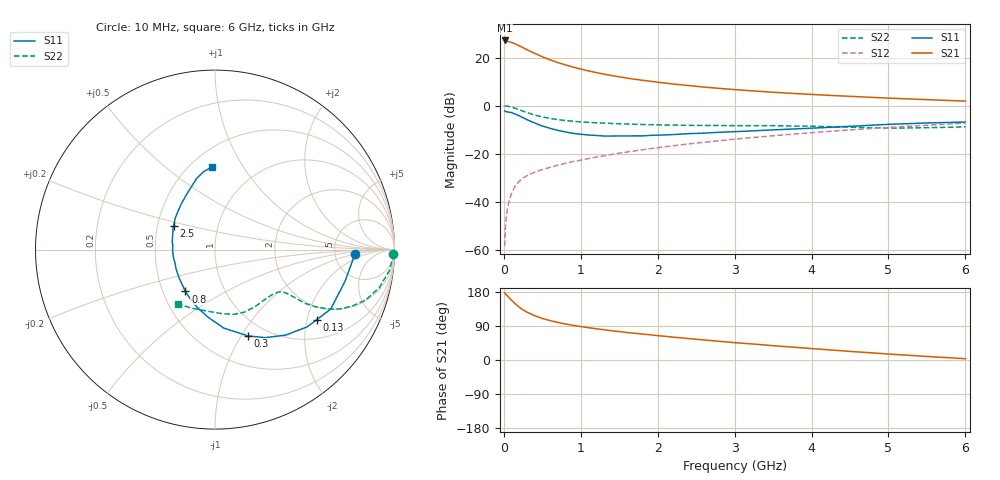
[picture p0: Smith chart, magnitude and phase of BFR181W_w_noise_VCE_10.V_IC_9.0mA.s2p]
! Infineon Technologies  Discrete & RF Semiconductors
! BFR181W
! VCE =  10. V,  IC =  9.0 mA
! Common Emitter S-Parameters:  Jan 2017
# GHz  S  MA  R  50
!  f  S11  S21  S12  S22
! GHz  MAG  ANG  MAG  ANG  MAG  ANG  MAG  ANG
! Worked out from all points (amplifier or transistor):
!   77 points, 10 MHz to 6 GHz, reference 50 ohm
!   highest |S21| = 27.2 dB at 10 MHz (marker M1)
!   |S21| within 3 dB of that: start of sweep to 250.3 MHz
!   unconditionally stable (mu >= 1): 1.124 GHz to 3.116 GHz
!   at 130 MHz: K = 0.24, MSG = 30.2 dB, |S12| = -34.5 dB
!   at 2.2 GHz: K = 1.06, MAG = 11.4 dB, |S12| = -16.6 dB
!   at 6 GHz: K = 0.86, MSG = 4.6 dB, |S12| = -7.2 dB
!   lowest NFmin = 1.18 dB at 450 MHz
!   S11 on the Smith chart (normalised r, x): 10 MHz: 8.02, -0.95; 130 MHz: 1.55, -2.29; 300 MHz: 0.82, -1.07; 800 MHz: 0.65, -0.33; 2.5 GHz: 0.61, +0.17; 6 GHz: 0.63, +0.74
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0.01  0.781 -1.7  22.85 177.3  0.0012 76.5  0.9934 -1.3
0.02  0.7616 -6.7  22.32 174.5  0.0029 86.3  0.9919 -2.5
0.04  0.7498 -11.3  22.01 170.4  0.0061 81.8  0.9823 -5.4
0.05  0.7458 -13.7  21.89 168.3  0.0077 80.9  0.9784 -6.9
0.1  0.7248 -27.2  20.8 157.5  0.0148 78.0  0.9388 -13.2
0.13  0.6878 -34.6  19.86 152.0  0.0189 73.5  0.9055 -16.3
0.15  0.6701 -40.0  19.34 148.0  0.0217 71.4  0.8849 -18.5
0.2  0.6181 -50.4  17.7 139.4  0.0268 68.1  0.8265 -22.4
0.25  0.5646 -60.3  16.19 132.2  0.0313 64.7  0.7729 -25.3
0.3  0.5148 -69.1  14.71 126.2  0.0352 62.8  0.7214 -27.4
0.4  0.4406 -83.5  12.33 116.8  0.0415 61.9  0.6429 -29.7
0.5  0.3802 -95.5  10.46 109.7  0.0471 60.9  0.586 -30.8
0.6  0.3398 -106.3  9.055 103.9  0.0523 60.9  0.5457 -31.0
0.8  0.286 -125.3  7.088 95.0  0.0636 62.9  0.4936 -31.2
1.1  0.2466 -148.3  5.321 85.3  0.0799 64.3  0.4527 -31.8
1.5  0.2356 -172.1  4.002 75.0  0.1036 65.8  0.4218 -34.3
2.1  0.2476 162.6  2.963 62.4  0.1407 65.5  0.3985 -41.7
2.5  0.2661 150.1  2.542 54.8  0.1671 64.3  0.3904 -48.1
3.1  0.2941 135.2  2.116 44.3  0.2089 61.7  0.3858 -58.1
4.1  0.3479 116.6  1.69 28.7  0.2832 55.6  0.3719 -75.3
5.1  0.4162 102.9  1.422 14.5  0.362 47.6  0.3448 -99.8
6  0.4593 92.3  1.25 3.4  0.4342 39.4  0.3653 -124.2
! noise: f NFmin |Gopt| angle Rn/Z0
0.45  1.18  0.17  16  0.21
0.9  1.23  0.16  31  0.21
1.9  1.65  0.05  107  0.2
2.4  1.82  0.03  116  0.23
